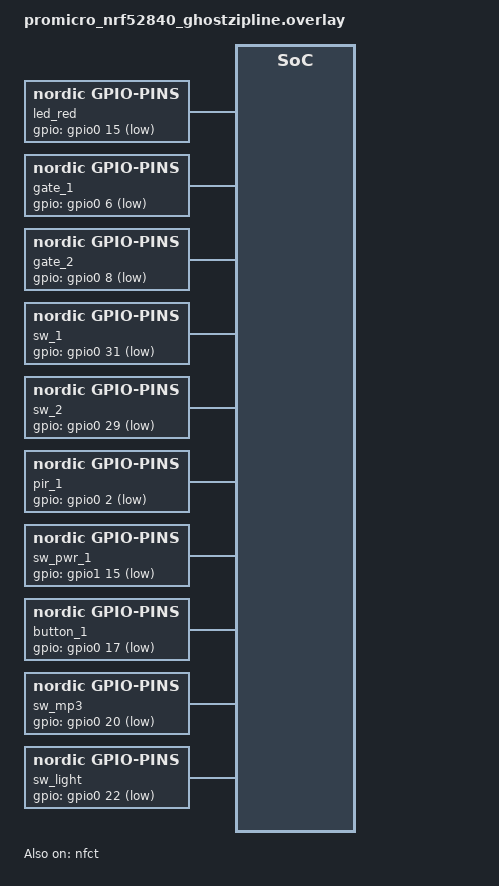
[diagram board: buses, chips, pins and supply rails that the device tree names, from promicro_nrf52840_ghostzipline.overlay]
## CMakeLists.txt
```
cmake_minimum_required(VERSION 3.20.0)
find_package(Zephyr REQUIRED HINTS $ENV{ZEPHYR_BASE})

project(ghost_zipline)

target_sources(app PRIVATE
src/main.c
src/application/application.c
src/bluetooth/bluetooth.c
src/hardware/vdd_level.c
)
```

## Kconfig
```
# Include Zephyr's base Kconfig
source "$ZEPHYR_BASE/Kconfig.zephyr"

menu "Custom Application Options"

config APPLICATION_NAME
    string "Advertised name"
    default "Ghost zipline"
    help
      Name seen during BLE advertisement

endmenu
```

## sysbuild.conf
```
# Enable MCUboot bootloader
SB_CONFIG_BOOTLOADER_MCUBOOT=y
```

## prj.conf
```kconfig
CONFIG_BT=y
CONFIG_BT_PERIPHERAL=y

# Enable the LBS service
CONFIG_BT_LBS=y
CONFIG_BT_LBS_POLL_BUTTON=y
CONFIG_DK_LIBRARY=y

CONFIG_SYSTEM_WORKQUEUE_STACK_SIZE=2048

CONFIG_LOG=y
CONFIG_USE_SEGGER_RTT=y
CONFIG_RTT_CONSOLE=y
CONFIG_UART_CONSOLE=n
CONFIG_LOG_BUFFER_SIZE=4096

CONFIG_NCS_SAMPLE_MCUMGR_BT_OTA_DFU=y
CONFIG_BOOTLOADER_MCUBOOT=y
```

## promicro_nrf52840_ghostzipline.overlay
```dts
// To get started, press Ctrl+Space to bring up the completion menu and view the available nodes.

// You can also use the buttons in the sidebar to perform actions on nodes.
// Actions currently available include:

// * Enabling / disabling the node
// * Adding the bus to a bus
// * Removing the node
// * Connecting ADC channels

// For more help, browse the DeviceTree documentation at https://docs.zephyrproject.org/latest/guides/dts/index.html
// You can also visit the nRF DeviceTree extension documentation at https://docs.nordicsemi.com/bundle/nrf-connect-vscode/page/guides/ncs_configure_app.html#devicetree-support-in-the-extension

/ {
  led_red: led_red {
		compatible = "nordic,gpio-pins";
		gpios = <&gpio0 15 (GPIO_ACTIVE_LOW)>;
    status = "okay";
	};
  gate_1: gate-1 {
    compatible = "nordic,gpio-pins";
    gpios = <&gpio0 6 (GPIO_ACTIVE_LOW)>;
    status = "okay";
  };
  gate_2: gate-2 {
    compatible = "nordic,gpio-pins";
    gpios = <&gpio0 8 (GPIO_ACTIVE_LOW)>;
    status = "okay";
  };
  sw_1: sw-1 {
    compatible = "nordic,gpio-pins";
    gpios = <&gpio0 31 (GPIO_ACTIVE_LOW)>;
    status = "okay";
  };
  sw_2: sw-2 {
    compatible = "nordic,gpio-pins";
    gpios = <&gpio0 29 (GPIO_ACTIVE_LOW)>;
    status = "okay";
  };
  pir_1: pir-1 {
    compatible = "nordic,gpio-pins";
    gpios = <&gpio0 2 (GPIO_ACTIVE_LOW)>;
    status = "okay";
  };
  sw_pwr_1: sw-pwr-1 {
    compatible = "nordic,gpio-pins";
    gpios = <&gpio1 15 (GPIO_ACTIVE_LOW)>;
    status = "okay";
  };
	button_1: button-1 {
    compatible = "nordic,gpio-pins";
    gpios = <&gpio0 17 (GPIO_ACTIVE_LOW)>;
    status = "okay";
  };

	sw_mp3: sw-mp3 {
    compatible = "nordic,gpio-pins";
    gpios = <&gpio0 20 (GPIO_ACTIVE_LOW)>;
    status = "okay";
  };

	sw_light: sw-light {
    compatible = "nordic,gpio-pins";
    gpios = <&gpio0 22 (GPIO_ACTIVE_LOW)>;
    status = "okay";
  };
  aliases {
    redled = &led_red;
  };
};
&gpio0 {
	status = "okay";
};

&gpio1 {
	status = "okay";
};

&gpiote {
	status = "okay";
};
&nfct {
  status = "okay";
};

&uart0 {
  status = "disabled";
};

&mx25r64 {
  status = "disabled";
};

&spi0 {
  status = "disabled";
};

&spi1 {
  status = "disabled";
};

&spi2 {
  status = "disabled";
};

&spi3 {
  status = "disabled";
};

&led2 {
  status = "disabled";
};

&qspi {
  status = "disabled";
};
```

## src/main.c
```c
#include <zephyr/kernel.h>
#include <zephyr/sys/printk.h>
#include "application/application.h"
#include <zephyr/logging/log.h>
#include "hardware/vdd_level.h"

LOG_MODULE_REGISTER(main, LOG_LEVEL_DBG);

int main(void)
{
	set_vdd_level();
	LOG_DBG("Main");
	run_application();
}
```
